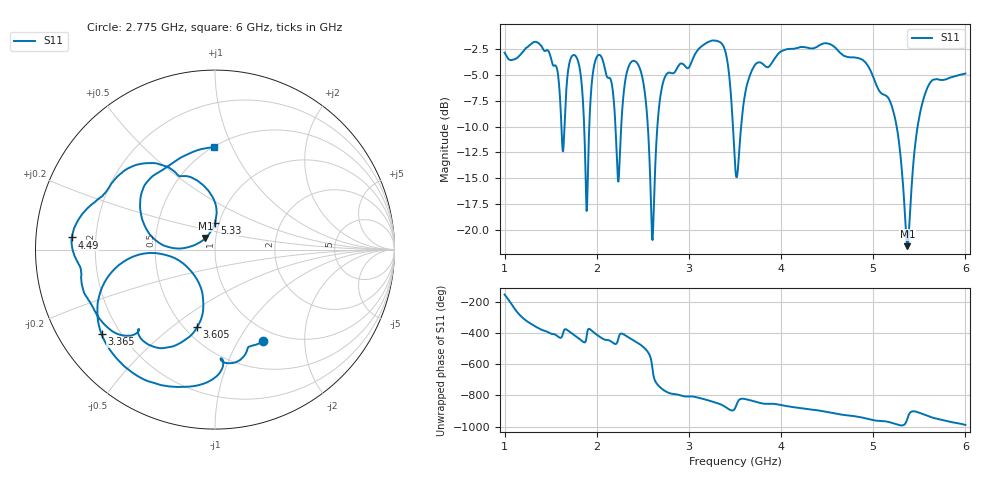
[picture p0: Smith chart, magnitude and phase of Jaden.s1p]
!Agilent Technologies,E8364B,MY43040633,A.07.50.37
!Agilent E8364B: A.07.50.37
!Date: Tuesday, December 16, 2025 17:00:45
!Correction: S11(Full 1 Port(1))
!S1P File: Measurement: S11:
# Hz S  RI  R 50
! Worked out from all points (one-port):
!   1001 points, 1 GHz to 6 GHz, reference 50 ohm
!   lowest |S11| = -21.6 dB at 5.37 GHz (marker M1), VSWR 1.18, Z = 44.6 + j5.75 ohm
!   |S11| at or under -10 dB: 2.554 GHz to 2.657 GHz (103.1 MHz wide, 3.96 % of centre); 3.478 GHz to 3.566 GHz (88.49 MHz wide, 2.51 % of centre); 5.254 GHz to 5.481 GHz (227.1 MHz wide, 4.23 % of centre)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
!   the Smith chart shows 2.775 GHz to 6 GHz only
!   S11 on the Smith chart (normalised r, x): 2.775 GHz: 0.84, -1.28; 3.365 GHz: 0.13, -0.33; 3.605 GHz: 0.58, -0.62; 4.49 GHz: 0.11, +0.04; 5.33 GHz: 0.96, +0.29; 6 GHz: 0.50, +0.85
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1e9  -0.6438 -0.3231
1.135e9  -0.0618 0.6769
1.31e9  0.796 0.1456
1.49e9  0.5379 -0.4624
1.625e9  0.1353 -0.2224
1.705e9  0.5477 -0.3469
1.795e9  0.2245 -0.6204
1.86e9  -0.0562 -0.34
1.915e9  0.2788 -0.0657
2.055e9  0.1993 -0.6517
2.25e9  0.1483 -0.1709
2.4e9  0.0313 -0.6581
2.525e9  -0.3468 -0.2845
2.605e9  0.00369 0.0894
2.775e9  0.2694 -0.5087
2.875e9  0.1659 -0.5877
3.365e9  -0.6321 -0.4714
3.5e9  -0.2003 -0.0608
3.605e9  -0.1 -0.4321
4.125e9  -0.6791 -0.3236
4.49e9  -0.7974 0.0675
4.75e9  -0.5941 0.3403
5.19e9  -0.1156 0.3944
5.33e9  8.49e-05 0.1501
5.37e9  -0.0536 0.0641
5.375e9  -0.0637 0.055
5.57e9  -0.4145 0.2113
6e9  -0.00683 0.5712
